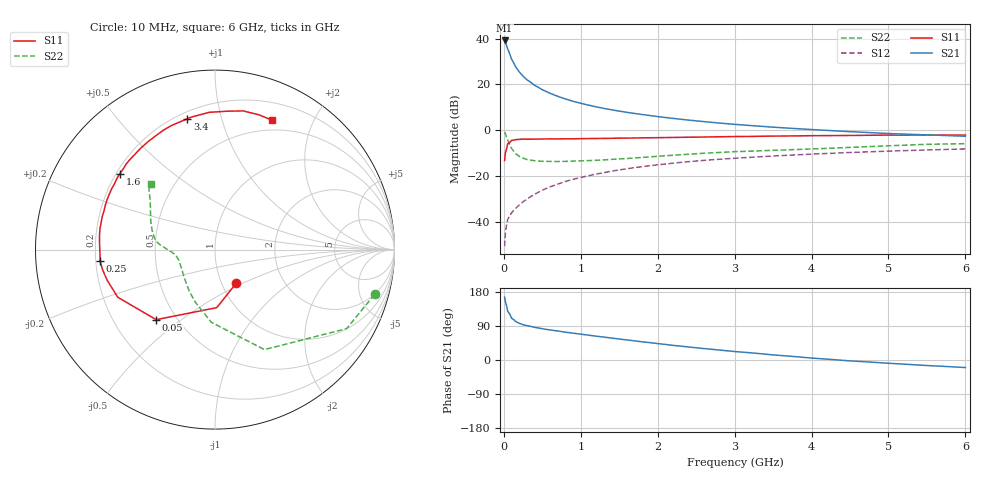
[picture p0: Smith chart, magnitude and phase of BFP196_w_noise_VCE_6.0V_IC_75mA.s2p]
! Infineon Technologies  Discrete & RF Semiconductors
! BFP196
! VCE =  6.0 V,  IC =  75 mA
! Common Emitter S-Parameters:  Jan 2017
# GHz  S  MA  R  50
!  f  S11  S21  S12  S22
! GHz  MAG  ANG  MAG  ANG  MAG  ANG  MAG  ANG
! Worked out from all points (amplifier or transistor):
!   77 points, 10 MHz to 6 GHz, reference 50 ohm
!   highest |S21| = 39.2 dB at 10 MHz (marker M1)
!   |S21| within 3 dB of that: start of sweep to 42.68 MHz
!   unconditionally stable (mu >= 1): 463.3 MHz to 2.424 GHz
!   at 130 MHz: K = 0.70, MSG = 32.0 dB, |S12| = -34.8 dB
!   at 2.2 GHz: K = 1.01, MAG = 9.2 dB, |S12| = -14.3 dB
!   at 6 GHz: K = 0.95, MSG = 2.8 dB, |S12| = -8.1 dB
!   lowest NFmin = 1.73 dB at 450 MHz
!   S11 on the Smith chart (normalised r, x): 10 MHz: 1.18, -0.46; 50 MHz: 0.39, -0.41; 250 MHz: 0.22, -0.05; 1.6 GHz: 0.21, +0.34; 3.4 GHz: 0.24, +0.78; 6 GHz: 0.39, +1.46
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0.01  0.2207 -57.2  90.76 165.9  0.003 80.0  0.9235 -15.7
0.02  0.3233 -88.2  84.66 153.7  0.0058 73.4  0.8554 -31.0
0.05  0.5097 -130.0  59.32 128.3  0.0114 54.0  0.6214 -63.7
0.1  0.6033 -153.9  35.6 110.2  0.0159 57.3  0.405 -93.0
0.15  0.6247 -164.2  24.69 102.0  0.0197 58.9  0.3141 -110.2
0.2  0.6364 -170.0  18.8 96.9  0.0237 62.0  0.2713 -122.1
0.25  0.6436 -174.4  15.13 93.2  0.0278 64.3  0.2468 -130.4
0.3  0.6413 -177.5  12.66 90.6  0.0318 65.5  0.232 -137.6
0.4  0.6437 177.6  9.577 86.1  0.0404 68.2  0.218 -146.8
0.5  0.648 173.4  7.674 82.5  0.0495 68.6  0.2119 -153.2
0.6  0.6515 169.9  6.426 79.3  0.0589 68.6  0.2107 -158.2
0.7  0.6519 166.9  5.51 76.6  0.0673 69.0  0.2094 -161.9
0.9  0.6548 160.8  4.294 70.8  0.0856 67.3  0.2137 -166.6
1.1  0.6624 155.0  3.538 65.6  0.1028 65.5  0.2192 -170.6
1.3  0.6682 149.4  3.007 60.5  0.1198 63.1  0.2271 -173.4
1.6  0.678 141.4  2.468 52.9  0.1455 59.1  0.2431 -177.1
2.1  0.6958 128.5  1.904 41.1  0.185 52.1  0.2795 178.0
3.1  0.7347 107.4  1.313 20.8  0.2524 38.3  0.3475 168.0
3.4  0.7449 102.0  1.206 15.4  0.2701 34.6  0.3617 164.1
4.1  0.7663 90.9  1.019 3.7  0.3084 26.0  0.3991 153.9
5.1  0.788 77.2  0.841 -9.7  0.357 14.3  0.4677 141.0
6  0.7879 66.2  0.744 -19.9  0.394 4.3  0.5128 134.3
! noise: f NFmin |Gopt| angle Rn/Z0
0.45  1.73  0.48  -171  0.06
0.9  1.89  0.51  -158  0.09
1.9  2.72  0.7  -130  0.38
2.4  3.12  0.7  -117  0.83
